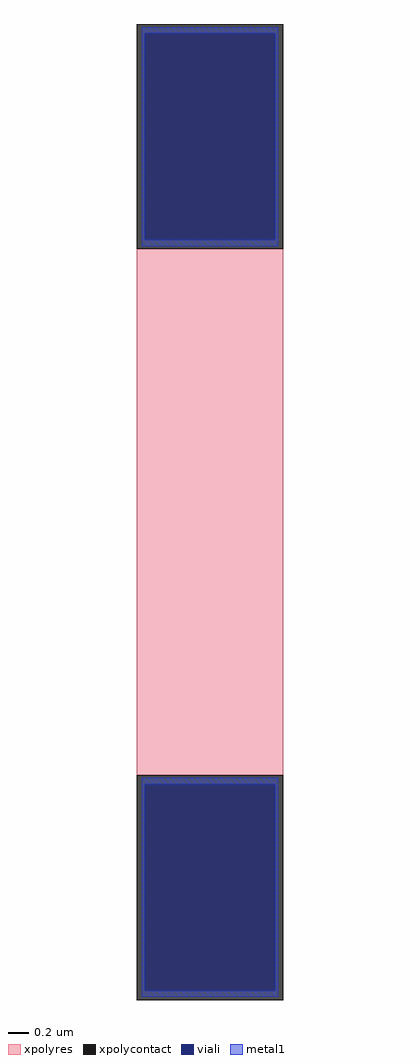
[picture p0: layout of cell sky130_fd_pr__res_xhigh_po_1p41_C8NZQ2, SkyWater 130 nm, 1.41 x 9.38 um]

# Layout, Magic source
magic
tech sky130A
magscale 1 2
<< xpolycontact >>
rect -141 506 141 938
rect -141 -938 141 -506
<< xpolyres >>
rect -141 -506 141 506
<< viali >>
rect -125 523 125 920
rect -125 -920 125 -523
<< metal1 >>
rect -131 920 131 932
rect -131 523 -125 920
rect 125 523 131 920
rect -131 511 131 523
rect -131 -523 131 -511
rect -131 -920 -125 -523
rect 125 -920 131 -523
rect -131 -932 131 -920
<< properties >>
string gencell sky130_fd_pr__res_xhigh_po_1p41
string library sky130
string parameters w 1.410 l 5.218 m 1 nx 1 wmin 1.410 lmin 0.50 rho 2000 val 7.668k dummy 0 dw 0.0 term 188.2 sterm 0.0 caplen 0 wmax 1.410 guard 0 glc 1 grc 1 gtc 1 gbc 1 compatible {sky130_fd_pr__res_xhigh_po_0p35  sky130_fd_pr__res_xhigh_po_0p69 sky130_fd_pr__res_xhigh_po_1p41  sky130_fd_pr__res_xhigh_po_2p85 sky130_fd_pr__res_xhigh_po_5p73} snake 0 full_metal 1 n_guard 0 hv_guard 0 vias 1 viagb 0 viagt 0 viagl 0 viagr 0
<< end >>
